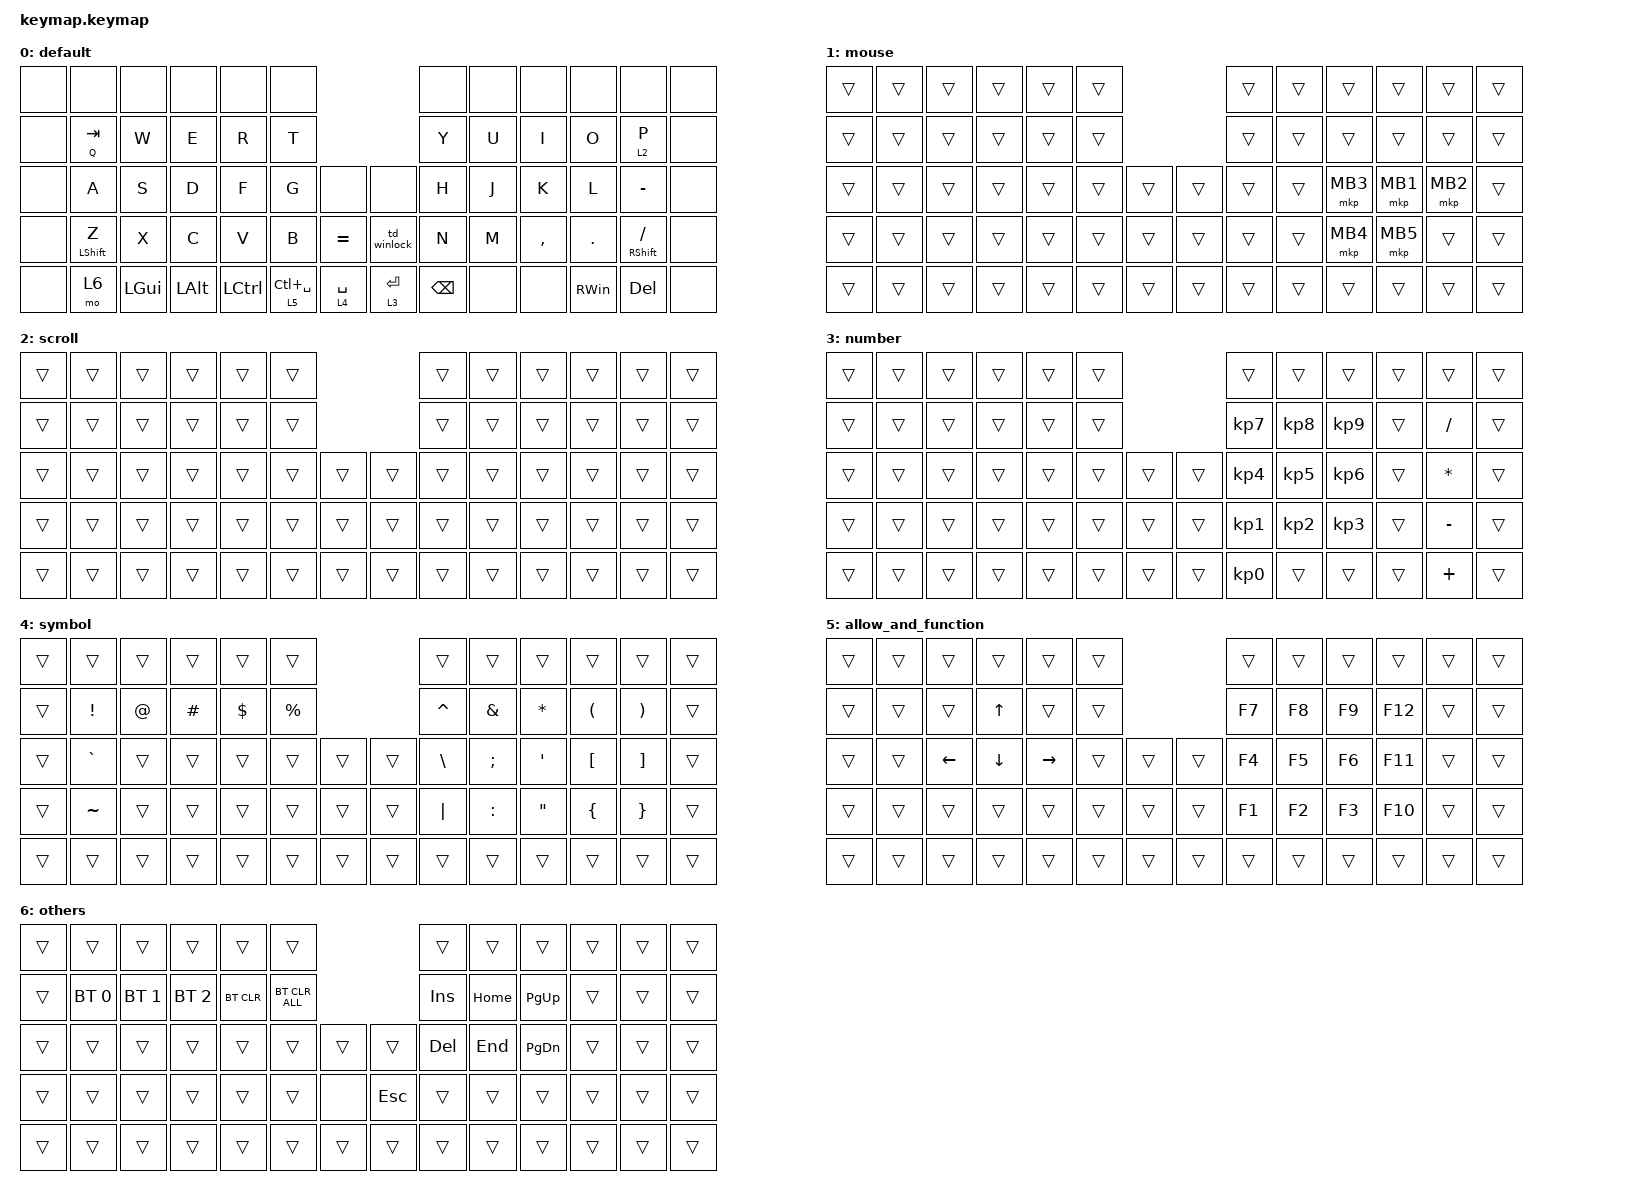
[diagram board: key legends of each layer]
#include <behaviors.dtsi>
#include <dt-bindings/zmk/bt.h>
#include <dt-bindings/zmk/keys.h>
#include <dt-bindings/zmk/pointing.h>

/ {
    combos {
        compatible = "zmk,combos";

        bt_clear {
            bindings = <&bt BT_CLR>;
            key-positions = <28 29>;
            layers = <4>;
        };
    };

    behaviors {
        td_que_exc: td_que_exc {
            compatible = "zmk,behavior-tap-dance";
            label = "TD_QUE_EXC";
            #binding-cells = <0>;
            bindings = <&mt RIGHT_SHIFT QMARK>, <&kp EXCLAMATION>;

            tapping-term-ms = <250>;
        };

        td_ime: td_ime {
            compatible = "zmk,behavior-tap-dance";
            label = "TD_IME";
            #binding-cells = <0>;
            tapping-term-ms = <250>;
            bindings = <&lt 5 LANGUAGE_1>, <&kp LANG2>;
        };

        td_winlock: td_winlock {
            compatible = "zmk,behavior-tap-dance";
            label = "TD_WINLOCK";
            #binding-cells = <0>;
            bindings = <&none>, <&kp LG(L)>;
        };
    };

    keymap {
        compatible = "zmk,keymap";

        default {
            bindings = <
&none  &none             &none     &none     &none      &none                                      &none          &none  &none      &none     &none                  &none
&none  &mt Q TAB         &kp W     &kp E     &kp R      &kp T                                      &kp Y          &kp U  &kp I      &kp O     &lt 2 P                &none
&none  &kp A             &kp S     &kp D     &kp F      &kp G            &none        &none        &kp H          &kp J  &kp K      &kp L     &kp MINUS              &none
&none  &mt LEFT_SHIFT Z  &kp X     &kp C     &kp V      &kp B            &kp EQUAL    &td_winlock  &kp N          &kp M  &kp COMMA  &kp DOT   &mt RIGHT_SHIFT SLASH  &none
&none  &mo 6             &kp LGUI  &kp LALT  &kp LCTRL  &lt 5 LC(SPACE)  &lt 4 SPACE  &lt 3 ENTER  &kp BACKSPACE  &none  &none      &kp RWIN  &kp DELETE             &none
            >;
        };

        mouse {
            bindings = <
&trans  &trans  &trans  &trans  &trans  &trans                  &trans  &trans  &trans    &trans    &trans    &trans
&trans  &trans  &trans  &trans  &trans  &trans                  &trans  &trans  &trans    &trans    &trans    &trans
&trans  &trans  &trans  &trans  &trans  &trans  &trans  &trans  &trans  &trans  &mkp MB3  &mkp MB1  &mkp MB2  &trans
&trans  &trans  &trans  &trans  &trans  &trans  &trans  &trans  &trans  &trans  &mkp MB4  &mkp MB5  &trans    &trans
&trans  &trans  &trans  &trans  &trans  &trans  &trans  &trans  &trans  &trans  &trans    &trans    &trans    &trans
            >;
        };

        scroll {
            bindings = <
&trans  &trans  &trans  &trans  &trans  &trans                  &trans  &trans  &trans  &trans  &trans  &trans
&trans  &trans  &trans  &trans  &trans  &trans                  &trans  &trans  &trans  &trans  &trans  &trans
&trans  &trans  &trans  &trans  &trans  &trans  &trans  &trans  &trans  &trans  &trans  &trans  &trans  &trans
&trans  &trans  &trans  &trans  &trans  &trans  &trans  &trans  &trans  &trans  &trans  &trans  &trans  &trans
&trans  &trans  &trans  &trans  &trans  &trans  &trans  &trans  &trans  &trans  &trans  &trans  &trans  &trans
            >;
        };

        number {
            bindings = <
&trans  &trans  &trans  &trans  &trans  &trans                  &trans           &trans           &trans           &trans  &trans        &trans
&trans  &trans  &trans  &trans  &trans  &trans                  &kp KP_NUMBER_7  &kp KP_NUMBER_8  &kp KP_NUMBER_9  &trans  &kp SLASH     &trans
&trans  &trans  &trans  &trans  &trans  &trans  &trans  &trans  &kp KP_NUMBER_4  &kp KP_NUMBER_5  &kp KP_NUMBER_6  &trans  &kp ASTERISK  &trans
&trans  &trans  &trans  &trans  &trans  &trans  &trans  &trans  &kp KP_NUMBER_1  &kp KP_NUMBER_2  &kp KP_NUMBER_3  &trans  &kp MINUS     &trans
&trans  &trans  &trans  &trans  &trans  &trans  &trans  &trans  &kp KP_NUMBER_0  &trans           &trans           &trans  &kp PLUS      &trans
            >;
        };

        symbol {
            bindings = <
&trans  &trans           &trans       &trans    &trans      &trans                       &trans         &trans         &trans             &trans                &trans                 &trans
&trans  &kp EXCLAMATION  &kp AT_SIGN  &kp HASH  &kp DOLLAR  &kp PERCENT                  &kp CARET      &kp AMPERSAND  &kp ASTERISK       &kp LEFT_PARENTHESIS  &kp RIGHT_PARENTHESIS  &trans
&trans  &kp GRAVE        &trans       &trans    &trans      &trans       &trans  &trans  &kp BACKSLASH  &kp SEMICOLON  &kp SQT            &kp LEFT_BRACKET      &kp RIGHT_BRACKET      &trans
&trans  &kp TILDE        &trans       &trans    &trans      &trans       &trans  &trans  &kp PIPE       &kp COLON      &kp DOUBLE_QUOTES  &kp LEFT_BRACE        &kp RIGHT_BRACE        &trans
&trans  &trans           &trans       &trans    &trans      &trans       &trans  &trans  &trans         &trans         &trans             &trans                &trans                 &trans
            >;
        };

        allow_and_function {
            bindings = <
&trans  &trans  &trans          &trans          &trans     &trans                  &trans  &trans  &trans  &trans   &trans  &trans
&trans  &trans  &trans          &kp UP_ARROW    &trans     &trans                  &kp F7  &kp F8  &kp F9  &kp F12  &trans  &trans
&trans  &trans  &kp LEFT_ARROW  &kp DOWN_ARROW  &kp RIGHT  &trans  &trans  &trans  &kp F4  &kp F5  &kp F6  &kp F11  &trans  &trans
&trans  &trans  &trans          &trans          &trans     &trans  &trans  &trans  &kp F1  &kp F2  &kp F3  &kp F10  &trans  &trans
&trans  &trans  &trans          &trans          &trans     &trans  &trans  &trans  &trans  &trans  &trans  &trans   &trans  &trans
            >;
        };

        others {
            bindings = <
&trans  &trans        &trans        &trans        &trans      &trans                              &trans      &trans    &trans         &trans  &trans  &trans
&trans  &bt BT_SEL 0  &bt BT_SEL 1  &bt BT_SEL 2  &bt BT_CLR  &bt BT_CLR_ALL                      &kp INS     &kp HOME  &kp PAGE_UP    &trans  &trans  &trans
&trans  &trans        &trans        &trans        &trans      &trans          &trans  &trans      &kp DELETE  &kp END   &kp PAGE_DOWN  &trans  &trans  &trans
&trans  &trans        &trans        &trans        &trans      &trans          &none   &kp ESCAPE  &trans      &trans    &trans         &trans  &trans  &trans
&trans  &trans        &trans        &trans        &trans      &trans          &trans  &trans      &trans      &trans    &trans         &trans  &trans  &trans
            >;
        };
    };
};

&mt {
    flavor = "balanced";
    quick-tap-ms = <0>;
};
